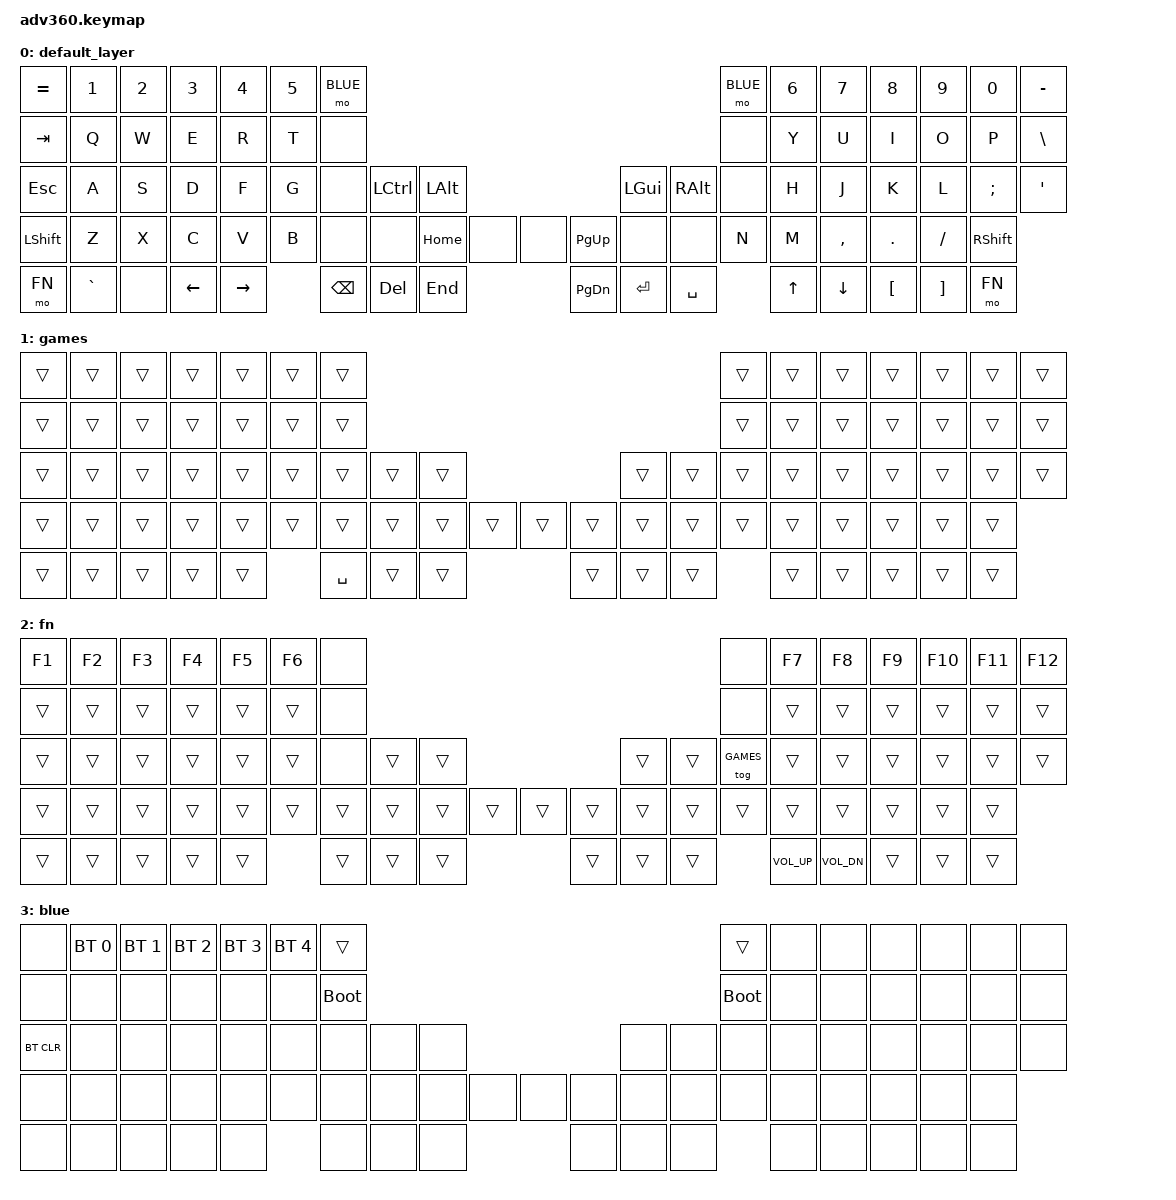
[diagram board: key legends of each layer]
#include <behaviors.dtsi>
#include <dt-bindings/zmk/keys.h>
#include <dt-bindings/zmk/bt.h>
#include <dt-bindings/zmk/rgb.h>
#include <dt-bindings/zmk/backlight.h>

#define DEFAULT 0
#define GAMES   1
#define FN      2
#define BLUE    3

&mt {
  label = "Mod Tap";
  #binding-cells = <2>;
  tapping-term-ms = <200>;
  quick-tap-ms = <300>;
  bindings = <&kp>, <&kp>;
};

/ {
    behaviors {
       lht: layer_hold_tap {
            compatible = "zmk,behavior-hold-tap";
            label = "LAYER_HOLD_TAP";
            #binding-cells = <2>;
            flavor = "hold-preferred";
            tapping-term-ms = <150>;
            bindings = <&kp>, <&to>;
        };
    };

  keymap {
    compatible = "zmk,keymap";

    default_layer {
      bindings = <
        &kp EQUAL &kp N1    &kp N2   &kp N3   &kp N4     &kp N5 &mo BLUE                                                                     &mo BLUE &kp N6 &kp N7 &kp N8    &kp N9   &kp N0   &kp MINUS
        &kp TAB   &kp Q     &kp W    &kp E    &kp R      &kp T  &none                                                                        &none    &kp Y  &kp U  &kp I     &kp O    &kp P    &kp BSLH
        &kp ESC   &kp A     &kp S    &kp D    &kp F      &kp G  &none           &kp LCTRL &kp LALT             &kp LGUI  &kp RALT            &none    &kp H  &kp J  &kp K     &kp L    &kp SEMI &kp SQT
        &kp LSHFT &kp Z     &kp X    &kp C    &kp V      &kp B         &none    &none     &kp HOME &none &none &kp PG_UP &none     &none              &kp N  &kp M  &kp COMMA &kp DOT  &kp FSLH &kp RSHFT
        &mo FN    &kp GRAVE &none    &kp LEFT &kp RIGHT                &kp BSPC &kp DEL   &kp END              &kp PG_DN &kp ENTER &kp SPACE                 &kp UP &kp DOWN  &kp LBKT &kp RBKT &mo FN
      >;
    };
	games {
      bindings = <
        &trans &trans &trans &trans &trans &trans &trans                                                       &trans &trans &trans &trans &trans &trans &trans
        &trans &trans &trans &trans &trans &trans &trans                                                       &trans &trans &trans &trans &trans &trans &trans
        &trans &trans &trans &trans &trans &trans &trans        &trans &trans               &trans &trans      &trans &trans &trans &trans &trans &trans &trans
        &trans &trans &trans &trans &trans &trans        &trans &trans &trans &trans &trans &trans &trans &trans      &trans &trans &trans &trans &trans &trans
        &trans &trans &trans &trans &trans            &kp SPACE &trans &trans               &trans &trans &trans             &trans &trans &trans &trans &trans
      >;
    };
    fn {
      bindings = <
        &kp F1 &kp F2 &kp F3 &kp F4 &kp F5 &kp F6  &none                                                         &none       &kp F7 &kp F8       &kp F9       &kp F10 &kp F11 &kp F12
        &trans &trans &trans &trans &trans &trans  &none                                                         &none       &trans &trans       &trans       &trans  &trans  &trans
        &trans &trans &trans &trans &trans &trans  &none        &trans &trans               &trans &trans        &tog GAMES  &trans &trans       &trans       &trans  &trans  &trans
        &trans &trans &trans &trans &trans &trans        &trans &trans &trans &trans &trans &trans &trans &trans             &trans &trans       &trans       &trans  &trans  &trans
        &trans &trans &trans &trans &trans               &trans &trans &trans               &trans &trans &trans                    &kp C_VOL_UP &kp C_VOL_DN &trans  &trans  &trans
      >;
    };
    blue {
      bindings = <
        &none 		&bt BT_SEL 0 &bt BT_SEL 1 &bt BT_SEL 2 &bt BT_SEL 3 &bt BT_SEL 4 &trans                                                                                   &trans        &none 		&none        &none        &none        &none        &none
        &none 		&none        &none        &none        &none        &none        &bootloader                                                                              &bootloader   &none       &none        &none        &none        &none        &none
        &bt BT_CLR 	&none        &none        &none        &none        &none        &none                   &none    &none                       &none    &none              &none 		&none       &none        &none        &none        &none        &none
        &none 		&none        &none        &none        &none        &none                        &none   &none    &none     &none    &none    &none    &none   &none                    &none       &none        &none        &none        &none        &none
        &none 		&none        &none        &none   	   &none                                     &none   &none    &none                       &none    &none   &none                                &none        &none        &none        &none        &none
      >;
    };
  };
};
